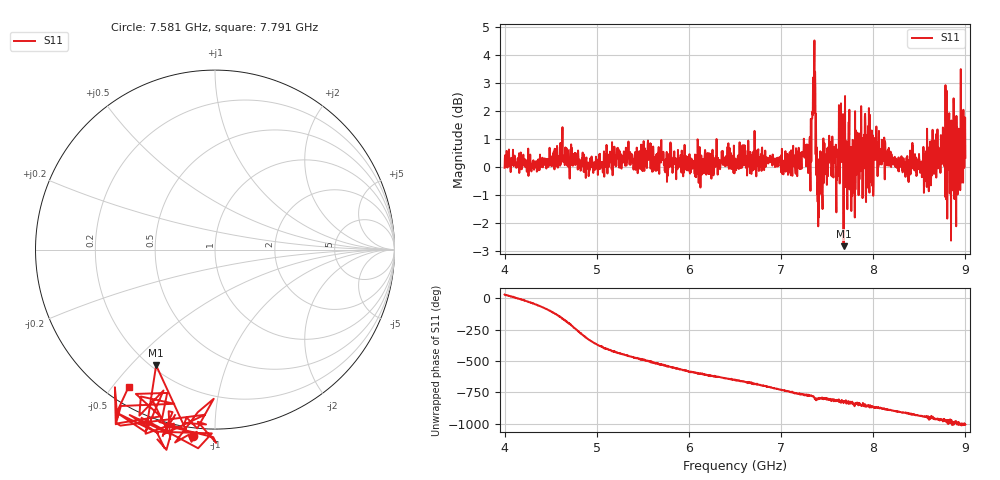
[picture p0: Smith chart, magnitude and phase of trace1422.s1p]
! Created with skrf 1.8.0 (http://scikit-rf.org).
# Hz S RI R 50.0
!freq ReS11 ImS11
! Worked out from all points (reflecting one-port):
!   1601 points, 4 GHz to 9 GHz, reference 50 ohm
!   lowest |S11| = -2.8 dB at 7.678 GHz (marker M1), VSWR 6.23, Z = 10.9 - j29.6 ohm
!   phase of S11 starts at 29 deg and turns -1037 deg over the sweep
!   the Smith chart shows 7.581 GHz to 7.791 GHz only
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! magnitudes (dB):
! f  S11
! 4 GHz  0.0
! 4.625 GHz  0.8
! 4.894 GHz  0.0
! 5.25 GHz  0.6
! 5.875 GHz  -0.1
! 6.5 GHz  0.0
! 7.125 GHz  0.2
! 7.294 GHz  -0.2
! 7.319 GHz  -0.8
! 7.347 GHz  3.2
! 7.366 GHz  1.9
! 7.397 GHz  -1.2
! 7.412 GHz  0.0
! 7.512 GHz  0.7
! 7.591 GHz  0.4
! 7.647 GHz  1.5
! 7.678 GHz  -2.8
! 7.7 GHz  0.6
! 7.75 GHz  0.3
! 7.784 GHz  0.7
! 7.891 GHz  0.4
! 7.909 GHz  1.8
! 8.375 GHz  0.0
! 8.612 GHz  -0.1
! 8.759 GHz  0.6
! 8.856 GHz  -0.4
! 8.953 GHz  -0.5
! 9 GHz  0.3
